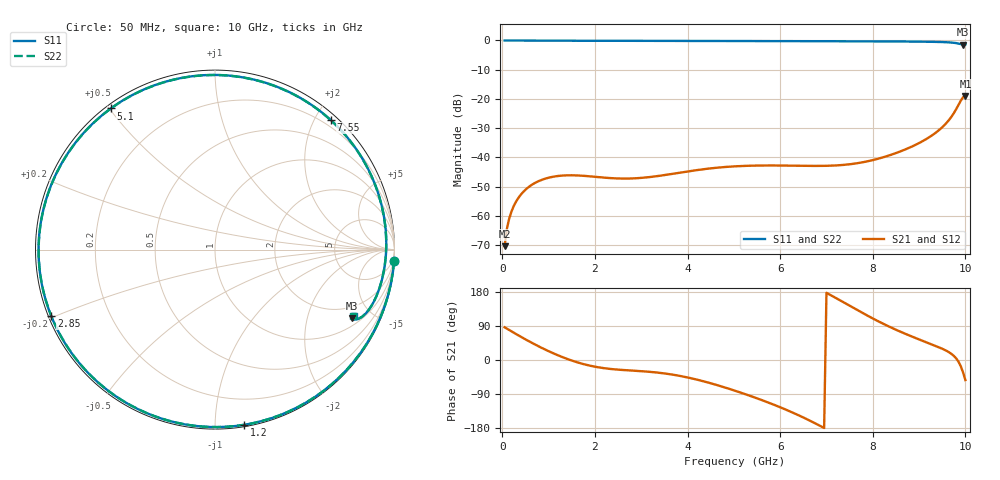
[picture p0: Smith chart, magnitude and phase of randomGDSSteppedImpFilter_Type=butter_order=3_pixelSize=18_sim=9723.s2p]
! freq	dB(S11)	phase(S11)	dB(S12)	phase(S12)
!  dB(S21)	phase(S21)	dB(S22)	phase(S22)
!S-par simulation data
#  GHz  S  DB  R 50
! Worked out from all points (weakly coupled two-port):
!   200 points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, 50 MHz to 10 GHz, reference 50 ohm
!   highest |S21| = -19.01 dB at 10 GHz (marker M1); lowest = -70.4 dB at 50 MHz (marker M2)
!   lowest |S11| = -1.4 dB at 9.95 GHz (marker M3), VSWR 12.48, Z = 68.2 - j189 ohm
!   |S11| at or under -10 dB: nowhere
!   |S22| runs from -1.4 to 0.0 dB; largest |S21 - S12| = 0
!   S11 on the Smith chart (normalised r, x): 50 MHz: 0, -31; 1.2 GHz: 0.01, -1.18; 2.85 GHz: 0.01, -0.20; 5.1 GHz: 0.01, +0.50; 7.55 GHz: 0.10, +2.23; 10 GHz: 1.40, -3.91
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0.05  -0.00 -3.7  -70.35 86.3  -70.35 86.3  -0.00 -3.7
0.1  -0.01 -7.3  -64.35 82.7  -64.35 82.7  -0.01 -7.3
0.15  -0.01 -10.9  -60.86 79.1  -60.86 79.1  -0.01 -10.9
0.25  -0.03 -18.1  -56.54 71.9  -56.54 71.9  -0.03 -18.1
0.4  -0.04 -28.7  -52.74 61.3  -52.74 61.3  -0.04 -28.7
0.8  -0.07 -55.8  -48.00 35.1  -48.00 35.1  -0.07 -55.8
1.2  -0.09 -80.5  -46.35 12.5  -46.35 12.5  -0.09 -80.6
1.75  -0.11 -110.3  -46.28 -10.7  -46.28 -10.7  -0.11 -110.3
2.3  -0.12 -135.7  -47.03 -23.2  -47.03 -23.2  -0.13 -135.7
2.85  -0.13 -157.9  -47.16 -28.3  -47.16 -28.3  -0.14 -158.0
3.4  -0.15 -178.0  -46.28 -33.9  -46.28 -33.9  -0.15 -178.0
4.2  -0.17 155.2  -44.34 -51.7  -44.34 -51.7  -0.17 155.1
5.05  -0.20 128.0  -43.03 -82.0  -43.03 -82.0  -0.20 127.9
5.1  -0.20 126.4  -42.99 -84.1  -42.99 -84.1  -0.20 126.4
5.9  -0.22 101.1  -42.76 -119.7  -42.76 -119.7  -0.23 101.1
6.7  -0.25 75.6  -42.91 -163.6  -42.91 -163.6  -0.26 75.6
7.55  -0.28 48.3  -42.25 139.8  -42.25 139.8  -0.29 48.2
8.35  -0.33 22.4  -39.34 88.3  -39.34 88.3  -0.33 22.4
9.4  -0.50 -11.4  -31.06 35.1  -31.06 35.1  -0.51 -11.4
9.7  -0.72 -21.3  -26.05 16.0  -26.05 16.0  -0.72 -21.4
9.95  -1.40 -26.5  -19.42 -33.0  -19.42 -33.0  -1.40 -26.6
10  -1.34 -25.7  -19.01 -53.0  -19.01 -53.0  -1.35 -25.7
